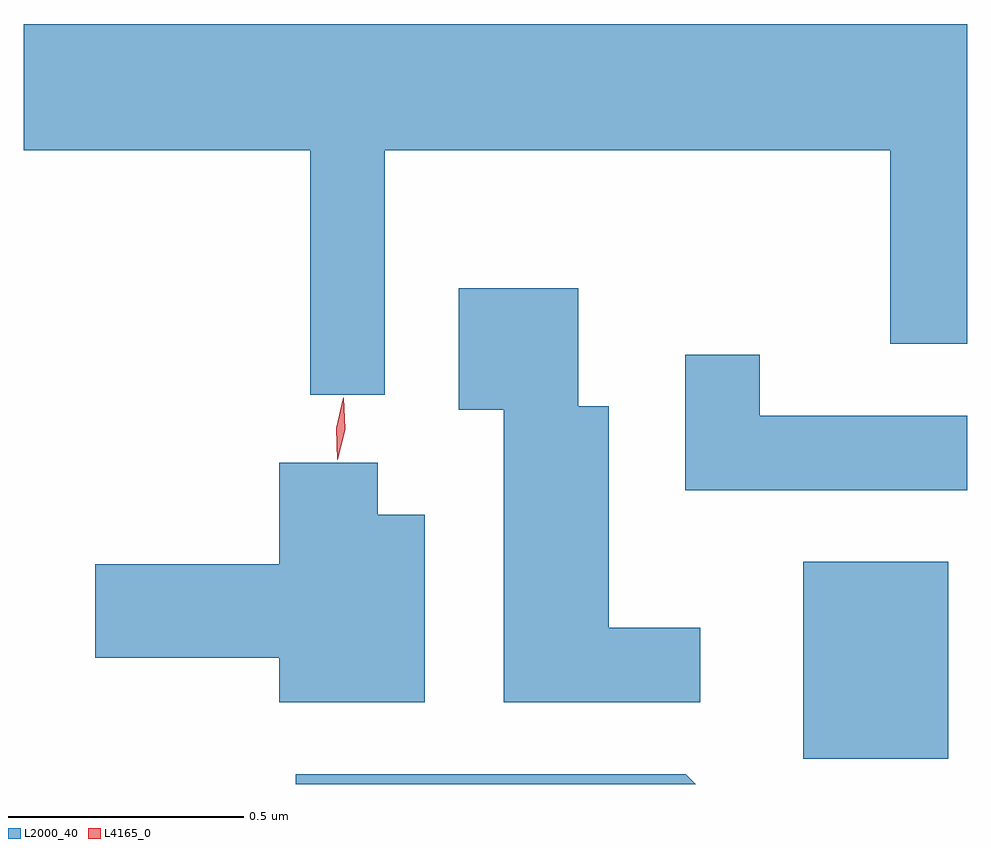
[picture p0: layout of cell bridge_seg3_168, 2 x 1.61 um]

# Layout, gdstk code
import gdstk
lib = gdstk.Library(unit=1e-6, precision=1e-09)
def R(c, l, rs):  # rectangles x0, y0, x1, y1
    for r in rs: c.add(gdstk.rectangle(r[:2], r[2:], *l))
def P(c, l, *ps):  # polygons
    for p in ps: c.add(gdstk.Polygon(p, *l))
L2000_40 = (2000, 40)
L4165_0 = (4165, 0)

bridge_seg3_168 = lib.new_cell('bridge_seg3_168')
R(bridge_seg3_168, L2000_40, [(766.586,1220.186,766.894,1220.604)])
P(bridge_seg3_168, L2000_40, [(765.699,1221.476),(766.771,1221.476),(766.771,1221.066),(766.934,1221.066),(766.934,1221.744),(764.934,1221.744),(764.934,1221.476),(765.541,1221.476),(765.541,1220.958),(765.699,1220.958)],
  [(766.368,1220.464),(766.174,1220.464),(766.174,1220.934),(766.109,1220.934),(766.109,1221.184),(765.856,1221.184),(765.856,1220.926),(765.951,1220.926),(765.951,1220.306),(766.368,1220.306)],
  [(766.934,1220.914),(766.494,1220.914),(766.494,1221.043),(766.336,1221.043),(766.336,1220.756),(766.934,1220.756)],
  [(765.784,1220.704),(765.684,1220.704),(765.684,1220.814),(765.476,1220.814),(765.476,1220.599),(765.086,1220.599),(765.086,1220.401),(765.476,1220.401),(765.476,1220.306),(765.784,1220.306)],
  [(766.337,1220.154),(765.511,1220.154),(765.511,1220.133),(766.358,1220.133)])
P(bridge_seg3_168, L4165_0, [(765.599,1220.82),(765.596,1220.887),(765.611,1220.952),(765.612,1220.952),(765.612,1220.952),(765.616,1220.885),(765.6,1220.82),(765.6,1220.82)])

lib.write_gds('bridge_seg3_168.gds')
